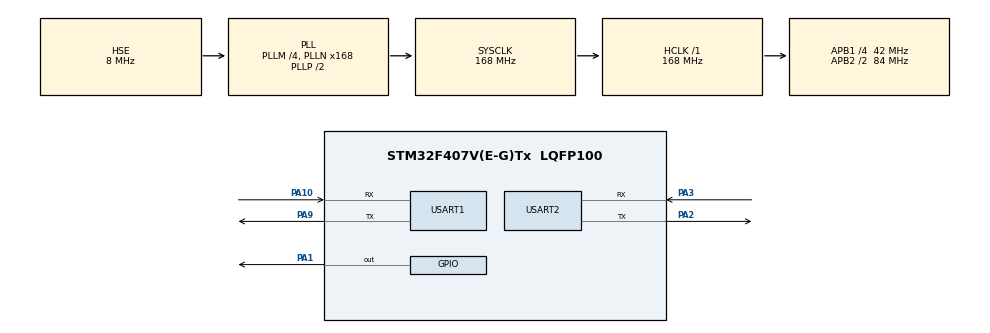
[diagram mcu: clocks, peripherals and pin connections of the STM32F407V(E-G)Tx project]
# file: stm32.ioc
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ADC1.Channel-2\#ChannelRegularConversion=ADC_CHANNEL_TEMPSENSOR
ADC1.ContinuousConvMode=ENABLE
ADC1.DMAContinuousRequests=ENABLE
ADC1.NbrOfConversion=1
ADC1.NbrOfConversionFlag=1
ADC1.Rank-2\#ChannelRegularConversion=1
ADC1.SamplingTime-2\#ChannelRegularConversion=ADC_SAMPLETIME_480CYCLES
ADC1.ScanConvMode=DISABLE
ADC1.master=1
Dma.ADC1.2.Direction=DMA_PERIPH_TO_MEMORY
Dma.ADC1.2.FIFOMode=DMA_FIFOMODE_DISABLE
Dma.ADC1.2.Instance=DMA2_Stream0
Dma.ADC1.2.MemDataAlignment=DMA_MDATAALIGN_HALFWORD
Dma.ADC1.2.MemInc=DMA_MINC_ENABLE
Dma.ADC1.2.Mode=DMA_CIRCULAR
Dma.ADC1.2.PeriphDataAlignment=DMA_PDATAALIGN_HALFWORD
Dma.ADC1.2.PeriphInc=DMA_PINC_DISABLE
Dma.ADC1.2.Priority=DMA_PRIORITY_VERY_HIGH
Dma.Request0=USART1_RX
Dma.Request1=USART2_RX
Dma.Request2=ADC1
Dma.USART1_RX.0.Direction=DMA_PERIPH_TO_MEMORY
Dma.USART1_RX.0.FIFOMode=DMA_FIFOMODE_DISABLE
Dma.USART1_RX.0.Instance=DMA2_Stream5
Dma.USART1_RX.0.MemDataAlignment=DMA_MDATAALIGN_BYTE
Dma.USART1_RX.0.MemInc=DMA_MINC_ENABLE
Dma.USART1_RX.0.Mode=DMA_CIRCULAR
Dma.USART1_RX.0.PeriphDataAlignment=DMA_PDATAALIGN_BYTE
Dma.USART1_RX.0.PeriphInc=DMA_PINC_DISABLE
Dma.USART1_RX.0.Priority=DMA_PRIORITY_HIGH
Dma.USART2_RX.1.Direction=DMA_PERIPH_TO_MEMORY
Dma.USART2_RX.1.FIFOMode=DMA_FIFOMODE_DISABLE
Dma.USART2_RX.1.Instance=DMA1_Stream5
Dma.USART2_RX.1.MemDataAlignment=DMA_MDATAALIGN_HALFWORD
Dma.USART2_RX.1.MemInc=DMA_MINC_ENABLE
Dma.USART2_RX.1.Mode=DMA_CIRCULAR
Dma.USART2_RX.1.PeriphDataAlignment=DMA_PDATAALIGN_HALFWORD
Dma.USART2_RX.1.PeriphInc=DMA_PINC_DISABLE
Dma.USART2_RX.1.Priority=DMA_PRIORITY_VERY_HIGH
Mcu.Family=STM32F4
Mcu.Name=STM32F407V(E-G)Tx
Mcu.Package=LQFP100
NVIC.DMA1_Stream5_IRQn=true\:0\:0\:false\:false\:true\:false\:true
NVIC.DMA2_Stream0_IRQn=true\:0\:0\:false\:false\:true\:false\:true
NVIC.DMA2_Stream5_IRQn=true\:0\:0\:false\:false\:true\:false\:true
NVIC.PriorityGroup=NVIC_PRIORITYGROUP_4
PA1.Signal=GPIO_Output
PA10.Mode=Asynchronous
PA10.Signal=USART1_RX
PA13.Mode=Serial_Wire
PA13.Signal=SYS_JTMS-SWDIO
PA14.Mode=Serial_Wire
PA14.Signal=SYS_JTCK-SWCLK
PA2.Mode=Asynchronous
PA2.Signal=USART2_TX
PA3.Mode=Asynchronous
PA3.Signal=USART2_RX
PA9.Mode=Asynchronous
PA9.Signal=USART1_TX
PH0-OSC_IN.Mode=HSE-External-Oscillator
PH0-OSC_IN.Signal=RCC_OSC_IN
PH1-OSC_OUT.Mode=HSE-External-Oscillator
PH1-OSC_OUT.Signal=RCC_OSC_OUT
ProjectManager.HeapSize=0x200
ProjectManager.StackSize=0x400
ProjectManager.TargetToolchain=MDK-ARM V5.27
RCC.48MHZClocksFreq_Value=84000000
RCC.AHBFreq_Value=168000000
RCC.APB1CLKDivider=RCC_HCLK_DIV4
RCC.APB1Freq_Value=42000000
RCC.APB1TimFreq_Value=84000000
RCC.APB2CLKDivider=RCC_HCLK_DIV2
RCC.APB2Freq_Value=84000000
RCC.APB2TimFreq_Value=168000000
RCC.CortexFreq_Value=168000000
RCC.HCLKFreq_Value=168000000
RCC.HSE_VALUE=8000000
RCC.HSI_VALUE=16000000
RCC.LSE_VALUE=32768
RCC.PLLM=4
RCC.PLLN=168
RCC.PLLSourceVirtual=RCC_PLLSOURCE_HSE
RCC.SYSCLKFreq_VALUE=168000000
RCC.SYSCLKSource=RCC_SYSCLKSOURCE_PLLCLK
RCC.VCOOutputFreq_Value=336000000
USART1.VirtualMode=VM_ASYNC
USART2.VirtualMode=VM_ASYNC
VP_ADC1_TempSens_Input.Mode=IN-TempSens
board=custom

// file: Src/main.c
/* USER CODE BEGIN Header */
/**
  ******************************************************************************
  * @file           : main.c
  * @brief          : Main program body
  ******************************************************************************
  * @attention
  *
  * <h2><center>&copy; Copyright (c) 2020 STMicroelectronics.
  * All rights reserved.</center></h2>
  *
  * This software component is licensed by ST under BSD 3-Clause license,
  * the "License"; You may not use this file except in compliance with the
  * License. You may obtain a copy of the License at:
  *                        opensource.org/licenses/BSD-3-Clause
  *
  ******************************************************************************
  */
/* USER CODE END Header */

#include "main.h"
#include "adc.h"
#include "dma.h"
#include "usart.h"
#include "gpio.h"

/* USER CODE BEGIN Includes */
#include "sys.h"
#include "delay.h"
#include <stdio.h>
/* USER CODE END Includes */

/* USER CODE BEGIN PD */
#define RXBUFFERSIZE1   3
#define RXBUFFERSIZE2   1
#define ADCBUFFERSIZE   10
/* USER CODE END PD */

/* USER CODE BEGIN PV */
extern UART_HandleTypeDef huart1;
extern UART_HandleTypeDef huart2;
extern ADC_HandleTypeDef hadc1;
u8 aRxBuffer1[RXBUFFERSIZE1];
u8 aRxBuffer2[RXBUFFERSIZE2];
u16 ADCBuffer[ADCBUFFERSIZE];
/* USER CODE END PV */

void SystemClock_Config(void);

int main(void)
{

  /* MCU Configuration--------------------------------------------------------*/

  /* Reset of all peripherals, Initializes the Flash interface and the Systick. */
  HAL_Init();

  /* Configure the system clock */
  SystemClock_Config();

  /* Initialize all configured peripherals */
  MX_GPIO_Init();
  MX_DMA_Init();
  MX_USART1_UART_Init();
  MX_ADC1_Init();
  MX_USART2_UART_Init();
  /* USER CODE BEGIN 2 */
  HAL_UART_Receive_DMA(&huart1, (uint8_t *)aRxBuffer1, RXBUFFERSIZE1);
  HAL_UART_Receive_DMA(&huart2, (uint8_t *)aRxBuffer2, RXBUFFERSIZE2);
  HAL_ADC_Start_DMA(&hadc1, (uint32_t*)ADCBuffer, ADCBUFFERSIZE);
  delay_init(168);
  /* USER CODE END 2 */

  /* Infinite loop */
  while (1)
  {

    /* USER CODE BEGIN 3 */
    delay_ms(500);
    HAL_GPIO_WritePin(GPIOA, GPIO_PIN_1, GPIO_PIN_SET);
    delay_ms(500);
    HAL_GPIO_WritePin(GPIOA, GPIO_PIN_1, GPIO_PIN_RESET);
  }
  /* USER CODE END 3 */
}

void SystemClock_Config(void)
{
  RCC_OscInitTypeDef RCC_OscInitStruct = {0};
  RCC_ClkInitTypeDef RCC_ClkInitStruct = {0};

  /** Configure the main internal regulator output voltage
  */
  __HAL_RCC_PWR_CLK_ENABLE();
  __HAL_PWR_VOLTAGESCALING_CONFIG(PWR_REGULATOR_VOLTAGE_SCALE1);
  /** Initializes the CPU, AHB and APB busses clocks
  */
  RCC_OscInitStruct.OscillatorType = RCC_OSCILLATORTYPE_HSE;
  RCC_OscInitStruct.HSEState = RCC_HSE_ON;
  RCC_OscInitStruct.PLL.PLLState = RCC_PLL_ON;
  RCC_OscInitStruct.PLL.PLLSource = RCC_PLLSOURCE_HSE;
  RCC_OscInitStruct.PLL.PLLM = 4;
  RCC_OscInitStruct.PLL.PLLN = 168;
  RCC_OscInitStruct.PLL.PLLP = RCC_PLLP_DIV2;
  RCC_OscInitStruct.PLL.PLLQ = 4;
  if (HAL_RCC_OscConfig(&RCC_OscInitStruct) != HAL_OK)
  {
    Error_Handler();
  }
  /** Initializes the CPU, AHB and APB busses clocks
  */
  RCC_ClkInitStruct.ClockType = RCC_CLOCKTYPE_HCLK|RCC_CLOCKTYPE_SYSCLK
                              |RCC_CLOCKTYPE_PCLK1|RCC_CLOCKTYPE_PCLK2;
  RCC_ClkInitStruct.SYSCLKSource = RCC_SYSCLKSOURCE_PLLCLK;
  RCC_ClkInitStruct.AHBCLKDivider = RCC_SYSCLK_DIV1;
  RCC_ClkInitStruct.APB1CLKDivider = RCC_HCLK_DIV4;
  RCC_ClkInitStruct.APB2CLKDivider = RCC_HCLK_DIV2;

  if (HAL_RCC_ClockConfig(&RCC_ClkInitStruct, FLASH_LATENCY_5) != HAL_OK)
  {
    Error_Handler();
  }
}

void Error_Handler(void)
{
}

/************************ (C) COPYRIGHT STMicroelectronics *****END OF FILE****/
